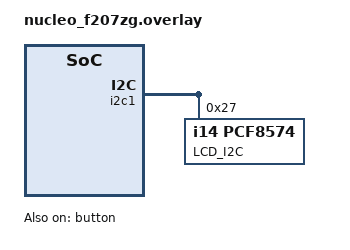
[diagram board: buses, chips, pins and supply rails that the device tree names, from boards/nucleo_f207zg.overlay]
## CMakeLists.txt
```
# Find Zephyr. This also loads Zephyr's build system.
cmake_minimum_required(VERSION 3.13.1)

set(BOARD nucleo_f207zg)

list(APPEND DTS_ROOT ${CMAKE_CURRENT_SOURCE_DIR}/../../)

find_package(Zephyr REQUIRED HINTS $ENV{ZEPHYR_BASE})
project(displaytest1)

#list(APPEND ZEPHYR_EXTRA_MODULES ${THS_DIR}/drivers/zephyr)

FILE(GLOB app_sources src/*.c)
FILE(GLOB ihm_sources src/ihm/*.c)


target_sources(app PRIVATE ${app_sources})
target_sources(app PRIVATE ${ihm_sources})

include_directories(${CMAKE_CURRENT_SOURCE_DIR}/src)
include_directories(${CMAKE_CURRENT_SOURCE_DIR}/../../../drivers)
```

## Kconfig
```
mainmenu "i14 Configuration"

comment "i14 Specific configuration Options"

rsource "../../Kconfig.i14"
	
config PCF8574
	default y

config BUTTON
	default y


source "Kconfig.zephyr"
```

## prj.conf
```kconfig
CONFIG_STDOUT_CONSOLE=y
CONFIG_PRINTK=y
CONFIG_HEAP_MEM_POOL_SIZE=256
CONFIG_ASSERT=n
CONFIG_GPIO=y
CONFIG_I2C=y
CONFIG_SPI=y
CONFIG_LOG=y

CONFIG_POLL=y
CONFIG_BUTTON=y
```

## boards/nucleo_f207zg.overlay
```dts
/{
	soc {
		button: button@0 {
			#address-cells = <1>;
			#size-cells = <0>;
			compatible = "i14,button";
			label = "BUTTONDRV";
			status = "okay";
			reg = <0x0 0x100>;
			int-gpios = <&gpioc 13 GPIO_ACTIVE_HIGH>;
		};
	};
};

&i2c1 {
	status="okay";
	lcd: lcd@27 {
		compatible = "i14,pcf8574";
		label = "LCD_I2C";
		reg = <0x27>;
	};
};
```

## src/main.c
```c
#include <zephyr.h>
#include <kernel.h>
#include <logging/log.h>
#include <sys/printk.h>
#include <sys/util.h>
#include "../../../drivers/display/pcf8574/pcf8574.h"
#include "ihm/lcdi2c.h"
#include <stdio.h>
#include "drivers/buttonapi.h"

LOG_MODULE_REGISTER(main);

#if DT_NODE_HAS_STATUS(DT_INST(0, i14_button), okay)
#define BUTTON_DEV_NAME DT_LABEL(DT_INST(0, i14_button))
#endif

lcdi2c *Lcd;
struct device *button_dev;

static struct k_poll_signal signalbtn;

void main(void){
	int contador = 0;
	char buffer[16] = {'\0'};
	Lcd = lcdi2cCreate();

	button_dev = device_get_binding(BUTTON_DEV_NAME);

	k_poll_signal_init(&signalbtn);

	struct k_poll_event event = K_POLL_EVENT_INITIALIZER(K_POLL_TYPE_SIGNAL,
	                                 K_POLL_MODE_NOTIFY_ONLY,
	                                 &signalbtn);


	buttondrv_init(button_dev, &signalbtn);

	Lcd->init();
	k_sleep(K_MSEC(2));
	Lcd->clear();
	Lcd->print("LCD I2C PCF8574");
	k_sleep(K_MSEC(5000));

	Lcd->clear();
	k_sleep(K_MSEC(1000));

	Lcd->line(LINHA_1);
	Lcd->print("Linha 1:");
	Lcd->line(LINHA_2);
	Lcd->print("Linha 2:");

	k_sleep(K_MSEC(2000));
	k_poll_signal_reset(&signalbtn);

	event.state = K_POLL_STATE_NOT_READY;

	for (;;){
		k_poll(&event, 1, K_FOREVER);
		event.signal->signaled = 0;
		event.state = K_POLL_STATE_NOT_READY;
		contador++;
		Lcd->clear();
		sprintf(buffer,"%d", contador);
		Lcd->line(LINHA_1);
		Lcd->print(buffer);

		sprintf(buffer,"%d", contador*contador);
		Lcd->line(LINHA_2);
		Lcd->print(buffer);

		//k_sleep(K_MSEC(1000));




		//LOG_INF("%d", event.signal->result);

	}
}
```
